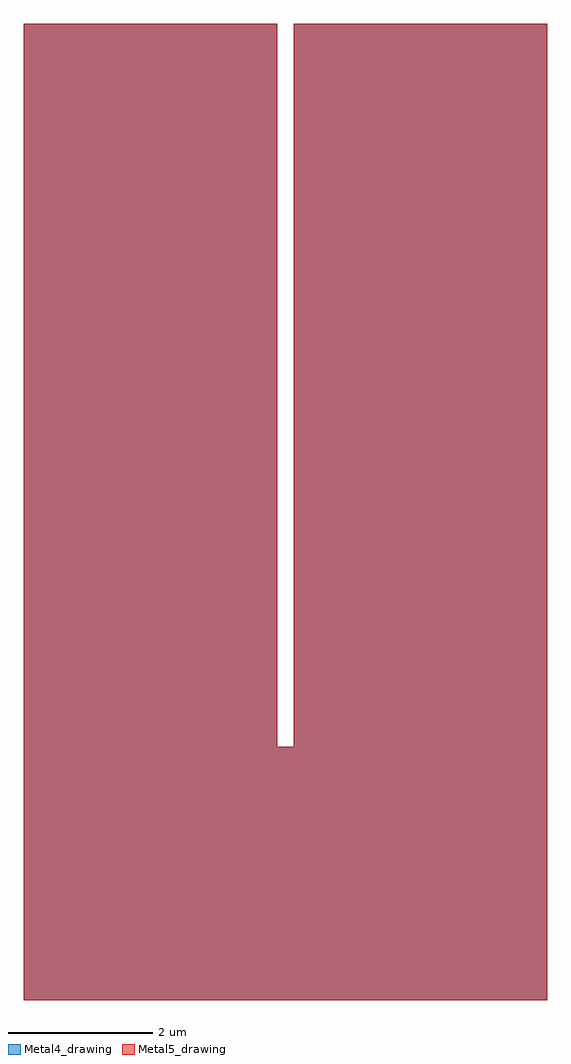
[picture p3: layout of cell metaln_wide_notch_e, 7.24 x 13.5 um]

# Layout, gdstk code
import gdstk
lib = gdstk.Library(unit=1e-6, precision=1e-09)
def R(c, l, rs):  # rectangles x0, y0, x1, y1
    for r in rs: c.add(gdstk.rectangle(r[:2], r[2:], *l))
Metal4_drawing = (50, 0)
Metal5_drawing = (67, 0)

metaln_wide_notch_e = lib.new_cell('metaln_wide_notch_e')
R(metaln_wide_notch_e, Metal4_drawing, [(-3.5,-3.5,3.735,0), (-3.5,0,0,10), (0.235,0,3.735,10)])
R(metaln_wide_notch_e, Metal5_drawing, [(-3.5,-3.5,3.735,0), (-3.5,0,0,10), (0.235,0,3.735,10)])
metaln_wide_notch_e.add(gdstk.Label('metaln_wide_notch_e: U of two 3.5 arms, notch 0.235, run 10', (0,-4.5), layer=63, texttype=0))

lib.write_gds('metaln_wide_notch_e.gds')
